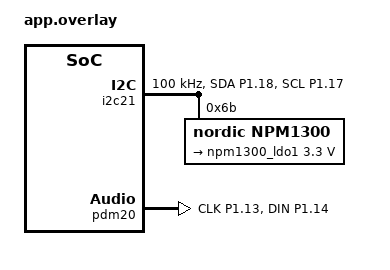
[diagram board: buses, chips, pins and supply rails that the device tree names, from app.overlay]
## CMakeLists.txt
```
cmake_minimum_required(VERSION 3.20.0)

# M3c.1 bring-up: PDM mic + mic_vad (VAD), audio_stream stubbed.

find_package(Zephyr REQUIRED HINTS $ENV{ZEPHYR_BASE})
project(nrf54_mic)

target_sources(app PRIVATE
    src/main.cpp
    src/audio_stream_stub.cpp
    ${CMAKE_CURRENT_SOURCE_DIR}/../../src/mic_vad.cpp
    ${CMAKE_CURRENT_SOURCE_DIR}/../../src/mic_vad_rms.cpp
)
target_include_directories(app PRIVATE ${CMAKE_CURRENT_SOURCE_DIR}/../../src)
```

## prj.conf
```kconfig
# M3c.1: console + nPM1300 (mic rail) + PDM mic + mic_vad (CMSIS FFT VAD).
CONFIG_CPP=y
CONFIG_STD_CPP17=y
CONFIG_NEWLIB_LIBC=y
CONFIG_NEWLIB_LIBC_FLOAT_PRINTF=y

# FPU + CMSIS-DSP for the voiced-band rFFT + RMS (mic_vad)
CONFIG_FPU=y
CONFIG_CMSIS_DSP=y
CONFIG_CMSIS_DSP_TRANSFORM=y
CONFIG_CMSIS_DSP_FASTMATH=y
CONFIG_CMSIS_DSP_COMPLEXMATH=y
CONFIG_CMSIS_DSP_STATISTICS=y

CONFIG_LOG=y
CONFIG_LOG_MODE_IMMEDIATE=y

CONFIG_SERIAL=y
CONFIG_CONSOLE=y
CONFIG_UART_CONSOLE=y
CONFIG_UART_INTERRUPT_DRIVEN=y
CONFIG_REBOOT=y

CONFIG_GPIO=y
CONFIG_I2C=y

# nPM1300 LDO1 powers the mic rail
CONFIG_REGULATOR=y
CONFIG_REGULATOR_NPM13XX=y
CONFIG_MFD=y

# PDM mic
CONFIG_AUDIO=y
CONFIG_AUDIO_DMIC=y
```

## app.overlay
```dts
/*
 * M3c.1 bring-up: nPM1300 LDO1 (IMU&MIC_3V3 rail) + PDM mic.
 *
 * The MEMS mic shares the IMU/mic rail (nPM1300 LDO1), so the PMIC LDO must be
 * on. PDM on pdm20 (relabeled pdm0 so mic_vad's DT_NODELABEL(pdm0) resolves):
 * CLK P1.13 / DIN P1.14. See docs/nrf54lm20a-board.md.
 */
#include <dt-bindings/regulator/npm13xx.h>

&pinctrl {
	/* PMIC bus (IIC1). */
	i2c21_default: i2c21_default {
		group1 {
			psels = <NRF_PSEL(TWIM_SDA, 1, 18)>,
				<NRF_PSEL(TWIM_SCL, 1, 17)>;
		};
	};
	i2c21_sleep: i2c21_sleep {
		group1 {
			psels = <NRF_PSEL(TWIM_SDA, 1, 18)>,
				<NRF_PSEL(TWIM_SCL, 1, 17)>;
			low-power-enable;
		};
	};

	/* PDM mic: CLK P1.13, DIN P1.14. */
	pdm20_default: pdm20_default {
		group1 {
			psels = <NRF_PSEL(PDM_CLK, 1, 13)>,
				<NRF_PSEL(PDM_DIN, 1, 14)>;
		};
	};
};

&i2c21 {
	status = "okay";
	pinctrl-0 = <&i2c21_default>;
	pinctrl-1 = <&i2c21_sleep>;
	pinctrl-names = "default", "sleep";
	clock-frequency = <100000>;

	npm1300: pmic@6b {
		compatible = "nordic,npm1300";
		reg = <0x6b>;

		npm1300_regulators: regulators {
			compatible = "nordic,npm1300-regulator";

			/* LDO1 -> IMU&MIC_3V3 (powers the mic). */
			npm1300_ldo1: LDO1 {
				regulator-min-microvolt = <3300000>;
				regulator-max-microvolt = <3300000>;
				regulator-initial-mode = <NPM13XX_LDSW_MODE_LDO>;
				regulator-boot-on;
				regulator-always-on;
			};
		};
	};
};

&pdm20 {
	status = "okay";
	pinctrl-0 = <&pdm20_default>;
	pinctrl-names = "default";
	clock-source = "PCLK32M";
};

/ {
	aliases {
		dmic0 = &pdm20;   /* mic_vad references DT_ALIAS(dmic0) */
	};
};
```

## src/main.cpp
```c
/*
 * nRF54LM20A OLED variant -- M3c.1: PDM mic + mic_vad bring-up.
 *
 * Brings up the PDM mic (powered by nPM1300 LDO1) and the shared mic_vad
 * capture + voice-activity path (adaptive noise floor + M-of-N voiced-onset via
 * CMSIS rFFT). The mic runs continuously here so you can watch the [MIC] blocks
 * respond to speech; the LC3->BLE uplink is wired in M3c.2 (audio_stream stubbed).
 *
 * Console: r reboot, b boot-info, m toggle mic on/off.
 */
#include <zephyr/kernel.h>
#include <zephyr/device.h>
#include <zephyr/drivers/uart.h>
#include <zephyr/sys/reboot.h>
#include <zephyr/sys/atomic.h>
#include <zephyr/logging/log.h>

#include "mic_vad.h"

LOG_MODULE_REGISTER(main, LOG_LEVEL_INF);

static const struct device *const console_dev =
	DEVICE_DT_GET(DT_CHOSEN(zephyr_console));

static atomic_t mic_on = ATOMIC_INIT(0);

static void set_mic(bool on)
{
	if (on) {
		mic_vad_start();
		atomic_set(&mic_on, 1);
		LOG_INF("mic ON (speak near the mic; watch [MIC] blocks)");
	} else {
		mic_vad_stop();
		atomic_set(&mic_on, 0);
		LOG_INF("mic OFF");
	}
}

static void uart_rx_cb(const struct device *dev, void *user_data)
{
	ARG_UNUSED(user_data);
	uint8_t ch;

	if (!uart_irq_update(dev) || !uart_irq_rx_ready(dev)) {
		return;
	}
	while (uart_fifo_read(dev, &ch, 1) == 1) {
		switch (ch) {
		case 'r':
			LOG_INF("reboot (cold)");
			sys_reboot(SYS_REBOOT_COLD);
			break;
		case 'b':
			LOG_INF("no UF2 bootloader on nRF54L -- flash via "
				"./flash_nrf54.sh; rebooting cold");
			sys_reboot(SYS_REBOOT_COLD);
			break;
		case 'm':
			set_mic(!atomic_get(&mic_on));
			break;
		default:
			break;
		}
	}
}

int main(void)
{
	LOG_INF("=== gestureband nRF54LM20A OLED variant -- M3c.1 mic ===");

	if (device_is_ready(console_dev)) {
		uart_irq_callback_user_data_set(console_dev, uart_rx_cb, NULL);
		uart_irq_rx_enable(console_dev);
		LOG_INF("console: r reboot, b boot-info, m toggle mic");
	}

	mic_vad_init();
	set_mic(true);   /* auto-start so speaking is immediately visible */

	/* Report voiced-onset latches (the key VAD output). */
	while (1) {
		if (atomic_get(&mic_on) && mic_vad_voice_onset()) {
			LOG_INF(">>> VOICE ONSET detected <<<");
		}
		k_sleep(K_MSEC(50));
	}
	return 0;
}
```

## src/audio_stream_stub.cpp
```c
/*
 * M3c.1 stub for audio_stream: mic_vad calls audio_stream_feed() per block, but
 * the LC3->BLE uplink isn't wired until M3c.2. These no-ops let mic_vad link and
 * run standalone so the PDM capture + VAD can be validated in isolation.
 */
#include "audio_stream.h"

int audio_stream_init(void) { return 0; }
bool audio_stream_active(void) { return false; }
void audio_stream_feed(const int16_t *pcm, size_t nsamp) { (void)pcm; (void)nsamp; }
```
